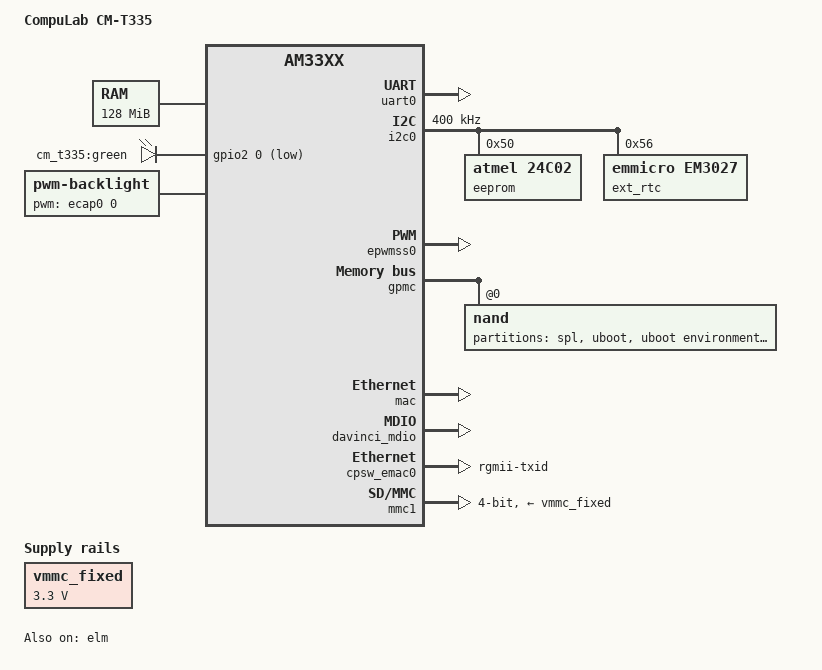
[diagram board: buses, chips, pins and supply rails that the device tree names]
/*
 * am335x-cm-t335.dts - Device Tree file for Compulab CM-T335
 *
 * Copyright (C) 2014 - 2015 CompuLab Ltd. - http://www.compulab.co.il/
 *
 * This program is free software; you can redistribute it and/or modify
 * it under the terms of the GNU General Public License version 2 as
 * published by the Free Software Foundation.
 */

/dts-v1/;

#include "am33xx.dtsi"

/ {
	model = "CompuLab CM-T335";
	compatible = "compulab,cm-t335", "ti,am33xx";

	memory {
		device_type = "memory";
		reg = <0x80000000 0x8000000>;	/* 128 MB */
	};

	leds {
		compatible = "gpio-leds";
		pinctrl-names = "default";
		pinctrl-0 = <&gpio_led_pins>;
		led@0 {
			label = "cm_t335:green";
			gpios = <&gpio2 0 GPIO_ACTIVE_LOW>;	/* gpio2_0 */
			linux,default-trigger = "heartbeat";
		};
	};

	/* regulator for mmc */
	vmmc_fixed: fixedregulator@0 {
		compatible = "regulator-fixed";
		regulator-name = "vmmc_fixed";
		regulator-min-microvolt = <3300000>;
		regulator-max-microvolt = <3300000>;
	};

	backlight {
		compatible = "pwm-backlight";
		pwms = <&ecap0 0 50000 0>;
		brightness-levels = <0 51 53 56 62 75 101 152 255>;
		default-brightness-level = <8>;
	};
};

&am33xx_pinmux {
	pinctrl-names = "default";
	pinctrl-0 = <>;

	i2c0_pins: pinmux_i2c0_pins {
		pinctrl-single,pins = <
			/* i2c0_sda.i2c0_sda */
			0x188 (PIN_INPUT_PULLUP | MUX_MODE0)
			/* i2c0_scl.i2c0_scl */
			0x18c (PIN_INPUT_PULLUP | MUX_MODE0)
		>;
	};

	i2c1_pins: pinmux_i2c1_pins {
		pinctrl-single,pins = <
			/* uart0_ctsn.i2c1_sda */
			0x168 (PIN_INPUT_PULLUP | MUX_MODE2)
			/* uart0_rtsn.i2c1_scl */
			0x16c (PIN_INPUT_PULLUP | MUX_MODE2)
		>;
	};

	gpio_led_pins: pinmux_gpio_led_pins {
		pinctrl-single,pins = <
			0x88 (PIN_OUTPUT | MUX_MODE7)	/* gpmc_csn3.gpio2_0 */
		>;
	};

	nandflash_pins: pinmux_nandflash_pins {
		pinctrl-single,pins = <
			/* gpmc_ad0.gpmc_ad0 */
			0x0 (PIN_INPUT_PULLUP | MUX_MODE0)
			/* gpmc_ad1.gpmc_ad1 */
			0x4 (PIN_INPUT_PULLUP | MUX_MODE0)
			/* gpmc_ad2.gpmc_ad2 */
			0x8 (PIN_INPUT_PULLUP | MUX_MODE0)
			/* gpmc_ad3.gpmc_ad3 */
			0xc (PIN_INPUT_PULLUP | MUX_MODE0)
			/* gpmc_ad4.gpmc_ad4 */
			0x10 (PIN_INPUT_PULLUP | MUX_MODE0)
			/* gpmc_ad5.gpmc_ad5 */
			0x14 (PIN_INPUT_PULLUP | MUX_MODE0)
			/* gpmc_ad6.gpmc_ad6 */
			0x18 (PIN_INPUT_PULLUP | MUX_MODE0)
			/* gpmc_ad7.gpmc_ad7 */
			0x1c (PIN_INPUT_PULLUP | MUX_MODE0)
			/* gpmc_wait0.gpmc_wait0 */
			0x70 (PIN_INPUT_PULLUP | MUX_MODE0)
			/* gpmc_wpn.gpio0_30 */
			0x74 (PIN_INPUT_PULLUP | MUX_MODE7)
			/* gpmc_csn0.gpmc_csn0  */
			0x7c (PIN_OUTPUT | MUX_MODE0)
			/* gpmc_advn_ale.gpmc_advn_ale */
			0x90 (PIN_OUTPUT | MUX_MODE0)
			/* gpmc_oen_ren.gpmc_oen_ren */
			0x94 (PIN_OUTPUT | MUX_MODE0)
			/* gpmc_wen.gpmc_wen */
			0x98 (PIN_OUTPUT | MUX_MODE0)
			/* gpmc_be0n_cle.gpmc_be0n_cle */
			0x9c (PIN_OUTPUT | MUX_MODE0)
		>;
	};

	uart0_pins: pinmux_uart0_pins {
		pinctrl-single,pins = <
			/* uart0_rxd.uart0_rxd */
			0x170 (PIN_INPUT_PULLUP | MUX_MODE0)
			/* uart0_txd.uart0_txd */
			0x174 (PIN_OUTPUT_PULLDOWN | MUX_MODE0)
		>;
	};

	ecap0_pins: pinmux_ecap0_pins {
		pinctrl-single,pins = <
			/* eCAP0_in_PWM0_out.eCAP0_in_PWM0_out MODE0 */
			0x164 0x0
		>;
	};

	cpsw_default: cpsw_default {
		pinctrl-single,pins = <
			/* Slave 1 */
			/* mii1_txen.rgmii1_tctl */
			0x114 (PIN_OUTPUT_PULLDOWN | MUX_MODE2)
			/* mii1_rxdv.rgmii1_rctl */
			0x118 (PIN_INPUT_PULLDOWN | MUX_MODE2)
			/* mii1_txd3.rgmii1_td3 */
			0x11c (PIN_OUTPUT_PULLDOWN | MUX_MODE2)
			/* mii1_txd2.rgmii1_td2 */
			0x120 (PIN_OUTPUT_PULLDOWN | MUX_MODE2)
			/* mii1_txd1.rgmii1_td1 */
			0x124 (PIN_OUTPUT_PULLDOWN | MUX_MODE2)
			/* mii1_txd0.rgmii1_td0 */
			0x128 (PIN_OUTPUT_PULLDOWN | MUX_MODE2)
			/* mii1_txclk.rgmii1_tclk */
			0x12c (PIN_OUTPUT_PULLDOWN | MUX_MODE2)
			/* mii1_rxclk.rgmii1_rclk */
			0x130 (PIN_INPUT_PULLDOWN | MUX_MODE2)
			/* mii1_rxd3.rgmii1_rd3 */
			0x134 (PIN_INPUT_PULLDOWN | MUX_MODE2)
			/* mii1_rxd2.rgmii1_rd2 */
			0x138 (PIN_INPUT_PULLDOWN | MUX_MODE2)
			/* mii1_rxd1.rgmii1_rd1 */
			0x13c (PIN_INPUT_PULLDOWN | MUX_MODE2)
			/* mii1_rxd0.rgmii1_rd0 */
			0x140 (PIN_INPUT_PULLDOWN | MUX_MODE2)
		>;
	};

	cpsw_sleep: cpsw_sleep {
		pinctrl-single,pins = <
			/* Slave 1 reset value */
			0x114 (PIN_INPUT_PULLDOWN | MUX_MODE7)
			0x118 (PIN_INPUT_PULLDOWN | MUX_MODE7)
			0x11c (PIN_INPUT_PULLDOWN | MUX_MODE7)
			0x120 (PIN_INPUT_PULLDOWN | MUX_MODE7)
			0x124 (PIN_INPUT_PULLDOWN | MUX_MODE7)
			0x128 (PIN_INPUT_PULLDOWN | MUX_MODE7)
			0x12c (PIN_INPUT_PULLDOWN | MUX_MODE7)
			0x130 (PIN_INPUT_PULLDOWN | MUX_MODE7)
			0x134 (PIN_INPUT_PULLDOWN | MUX_MODE7)
			0x138 (PIN_INPUT_PULLDOWN | MUX_MODE7)
			0x13c (PIN_INPUT_PULLDOWN | MUX_MODE7)
			0x140 (PIN_INPUT_PULLDOWN | MUX_MODE7)
		>;
	};

	davinci_mdio_default: davinci_mdio_default {
		pinctrl-single,pins = <
			/* mdio_data.mdio_data */
			0x148 (PIN_INPUT_PULLUP | SLEWCTRL_FAST | MUX_MODE0)
			/* mdio_clk.mdio_clk */
			0x14c (PIN_OUTPUT_PULLUP | MUX_MODE0)
		>;
	};

	davinci_mdio_sleep: davinci_mdio_sleep {
		pinctrl-single,pins = <
			/* MDIO reset value */
			0x148 (PIN_INPUT_PULLDOWN | MUX_MODE7)
			0x14c (PIN_INPUT_PULLDOWN | MUX_MODE7)
		>;
	};

	mmc1_pins: pinmux_mmc1_pins {
		pinctrl-single,pins = <
			/* mmc0_dat3.mmc0_dat3 */
			0xf0 (PIN_INPUT_PULLUP | MUX_MODE0)
			/* mmc0_dat2.mmc0_dat2 */
			0xf4 (PIN_INPUT_PULLUP | MUX_MODE0)
			/* mmc0_dat1.mmc0_dat1 */
			0xf8 (PIN_INPUT_PULLUP | MUX_MODE0)
			/* mmc0_dat0.mmc0_dat0 */
			0xfc (PIN_INPUT_PULLUP | MUX_MODE0)
			/* mmc0_clk.mmc0_clk */
			0x100 (PIN_INPUT_PULLUP | MUX_MODE0)
			/* mmc0_cmd.mmc0_cmd */
			0x104 (PIN_INPUT_PULLUP | MUX_MODE0)
		>;
	};
};

&uart0 {
	pinctrl-names = "default";
	pinctrl-0 = <&uart0_pins>;

	status = "okay";
};

&i2c0 {
	pinctrl-names = "default";
	pinctrl-0 = <&i2c0_pins>;

	status = "okay";
	clock-frequency = <400000>;

	eeprom: 24c02@50 {
		compatible = "atmel,24c02";
		reg = <0x50>;
		pagesize = <16>;
	};

	ext_rtc: em3027@56 {
		compatible = "emmicro,em3027";
		reg = <0x56>;
	};
};

&epwmss0 {
	status = "okay";

	ecap0: ecap@48300100 {
		status = "okay";
		pinctrl-names = "default";
		pinctrl-0 = <&ecap0_pins>;
	};
};

&gpmc {
	status = "okay";
	pinctrl-names = "default";
	pinctrl-0 = <&nandflash_pins>;
	ranges = <0 0 0x08000000 0x10000000>;	/* CS0: NAND */
	nand@0,0 {
		reg = <0 0 0>; /* CS0, offset 0 */
		ti,nand-ecc-opt = "bch8";
		ti,elm-id = <&elm>;
		nand-bus-width = <8>;
		gpmc,device-width = <1>;
		gpmc,sync-clk-ps = <0>;
		gpmc,cs-on-ns = <0>;
		gpmc,cs-rd-off-ns = <44>;
		gpmc,cs-wr-off-ns = <44>;
		gpmc,adv-on-ns = <6>;
		gpmc,adv-rd-off-ns = <34>;
		gpmc,adv-wr-off-ns = <44>;
		gpmc,we-on-ns = <0>;
		gpmc,we-off-ns = <40>;
		gpmc,oe-on-ns = <0>;
		gpmc,oe-off-ns = <54>;
		gpmc,access-ns = <64>;
		gpmc,rd-cycle-ns = <82>;
		gpmc,wr-cycle-ns = <82>;
		gpmc,wait-on-read = "true";
		gpmc,wait-on-write = "true";
		gpmc,bus-turnaround-ns = <0>;
		gpmc,cycle2cycle-delay-ns = <0>;
		gpmc,clk-activation-ns = <0>;
		gpmc,wait-monitoring-ns = <0>;
		gpmc,wr-access-ns = <40>;
		gpmc,wr-data-mux-bus-ns = <0>;
		/* MTD partition table */
		#address-cells = <1>;
		#size-cells = <1>;
		partition@0 {
			label = "spl";
			reg = <0x00000000 0x00200000>;
		};
		partition@1 {
			label = "uboot";
			reg = <0x00200000 0x00100000>;
		};
		partition@2 {
			label = "uboot environment";
			reg = <0x00300000 0x00100000>;
		};
		partition@3 {
			label = "dtb";
			reg = <0x00400000 0x00100000>;
		};
		partition@4 {
			label = "splash";
			reg = <0x00500000 0x00400000>;
		};
		partition@5 {
			label = "linux";
			reg = <0x00900000 0x00600000>;
		};
		partition@6 {
			label = "rootfs";
			reg = <0x00F00000 0>;
		};
	};
};

&elm {
	status = "okay";
};

&mac {
	pinctrl-names = "default", "sleep";
	pinctrl-0 = <&cpsw_default>;
	pinctrl-1 = <&cpsw_sleep>;
	slaves = <1>;
	status = "okay";
};

&davinci_mdio {
	pinctrl-names = "default", "sleep";
	pinctrl-0 = <&davinci_mdio_default>;
	pinctrl-1 = <&davinci_mdio_sleep>;
	status = "okay";
};

&cpsw_emac0 {
	phy_id = <&davinci_mdio>, <0>;
	phy-mode = "rgmii-txid";
};

&mmc1 {
	status = "okay";
	vmmc-supply = <&vmmc_fixed>;
	bus-width = <4>;
	pinctrl-names = "default";
	pinctrl-0 = <&mmc1_pins>;
};

